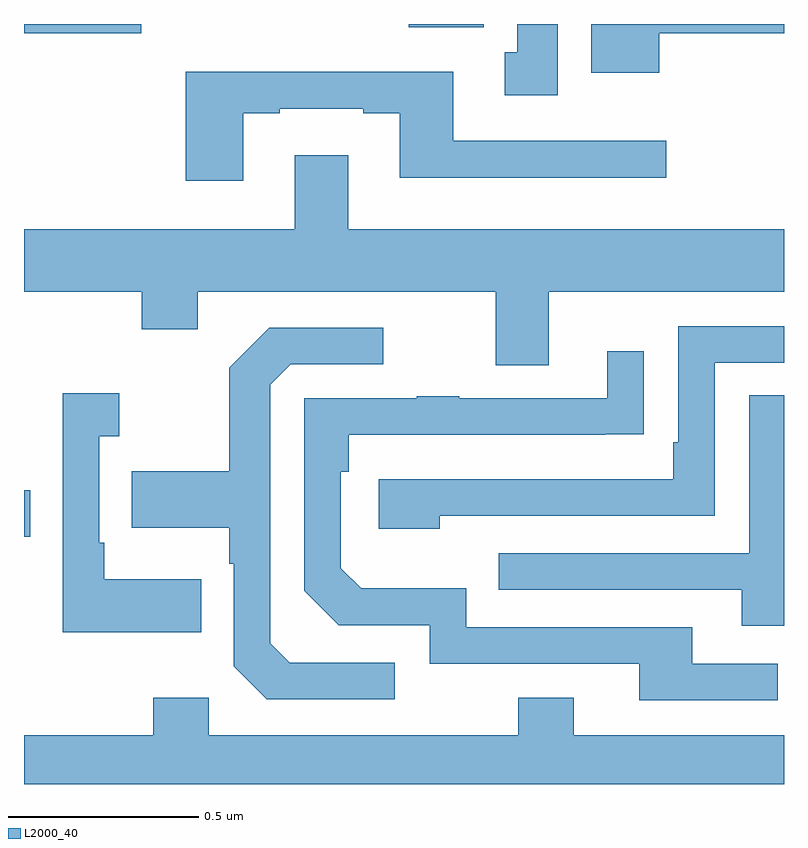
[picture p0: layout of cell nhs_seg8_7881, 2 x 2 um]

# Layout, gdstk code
import gdstk
lib = gdstk.Library(unit=1e-6, precision=1e-09)
def R(c, l, rs):  # rectangles x0, y0, x1, y1
    for r in rs: c.add(gdstk.rectangle(r[:2], r[2:], *l))
def P(c, l, *ps):  # polygons
    for p in ps: c.add(gdstk.Polygon(p, *l))
L2000_40 = (2000, 40)

nhs_seg8_7881 = lib.new_cell('nhs_seg8_7881')
R(nhs_seg8_7881, L2000_40, [(216,1086.551,216.016,1086.673), (216,1087.876,216.309,1087.9), (217.013,1087.892,217.21,1087.9)])
P(nhs_seg8_7881, L2000_40, [(217.405,1087.9),(217.298,1087.9),(217.298,1087.826),(217.265,1087.826),(217.265,1087.713),(217.405,1087.713)],
  [(217.672,1087.876),(218,1087.876),(218,1087.9),(217.493,1087.9),(217.493,1087.772),(217.672,1087.772)],
  [(216.577,1087.665),(216.673,1087.665),(216.673,1087.677),(216.893,1087.677),(216.893,1087.665),(216.989,1087.665),(216.989,1087.496),(217.69,1087.496),(217.69,1087.593),(217.129,1087.593),(217.129,1087.774),(216.425,1087.774),(216.425,1087.488),(216.577,1087.488)],
  [(217.381,1087.196),(218,1087.196),(218,1087.36),(216.853,1087.36),(216.853,1087.555),(216.713,1087.555),(216.713,1087.36),(216,1087.36),(216,1087.196),(216.31,1087.196),(216.31,1087.097),(216.457,1087.097),(216.457,1087.196),(217.241,1087.196),(217.241,1087.002),(217.381,1087.002)],
  [(217.094,1086.606),(217.818,1086.606),(217.818,1087.008),(218,1087.008),(218,1087.104),(217.722,1087.104),(217.722,1086.799),(217.709,1086.799),(217.709,1086.702),(216.933,1086.702),(216.933,1086.572),(217.094,1086.572)],
  [(216.976,1086.219),(216.699,1086.219),(216.648,1086.27),(216.648,1086.951),(216.702,1087.005),(216.946,1087.005),(216.946,1087.101),(216.645,1087.101),(216.54,1086.995),(216.54,1086.723),(216.283,1086.723),(216.283,1086.575),(216.54,1086.575),(216.54,1086.479),(216.552,1086.479),(216.552,1086.21),(216.639,1086.123),(216.976,1086.123)],
  [(217.984,1086.216),(217.759,1086.216),(217.759,1086.312),(217.164,1086.312),(217.164,1086.415),(216.887,1086.415),(216.834,1086.468),(216.834,1086.722),(216.854,1086.722),(216.854,1086.819),(217.529,1086.819),(217.529,1086.82),(217.631,1086.82),(217.631,1087.039),(217.535,1087.039),(217.535,1086.915),(217.145,1086.915),(217.145,1086.92),(217.033,1086.92),(217.033,1086.915),(216.738,1086.915),(216.738,1086.408),(216.828,1086.318),(217.068,1086.318),(217.068,1086.216),(217.619,1086.216),(217.619,1086.12),(217.984,1086.12)],
  [(216.467,1086.439),(216.211,1086.439),(216.211,1086.535),(216.198,1086.535),(216.198,1086.815),(216.25,1086.815),(216.25,1086.928),(216.102,1086.928),(216.102,1086.299),(216.467,1086.299)],
  [(218,1086.923),(217.908,1086.923),(217.908,1086.507),(217.249,1086.507),(217.249,1086.411),(217.889,1086.411),(217.889,1086.317),(218,1086.317)],
  [(218,1086.028),(217.447,1086.028),(217.447,1086.127),(217.3,1086.127),(217.3,1086.028),(216.486,1086.028),(216.486,1086.127),(216.34,1086.127),(216.34,1086.028),(216,1086.028),(216,1085.9),(218,1085.9)])

lib.write_gds('nhs_seg8_7881.gds')
